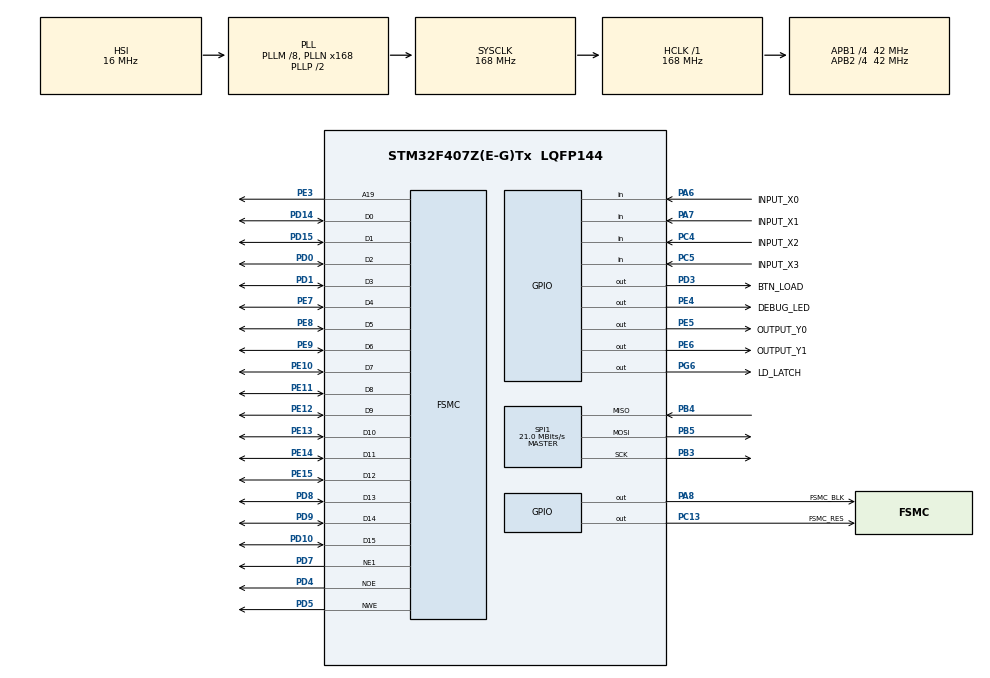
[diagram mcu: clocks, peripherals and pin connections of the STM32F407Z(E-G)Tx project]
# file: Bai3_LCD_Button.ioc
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FSMC.AddressSetupTime1=0xf
FSMC.BusTurnAroundDuration1=0
FSMC.DataSetupTime1=60
FSMC.ExtendedAddressSetupTime1=8
FSMC.ExtendedBusTurnAroundDuration1=0
FSMC.ExtendedDataSetupTime1=9
FSMC.ExtendedMode1=FSMC_EXTENDED_MODE_ENABLE
Mcu.Family=STM32F4
Mcu.Name=STM32F407Z(E-G)Tx
Mcu.Package=LQFP144
NVIC.PriorityGroup=NVIC_PRIORITYGROUP_4
NVIC.TIM2_IRQn=true\:0\:0\:false\:false\:true\:true\:true\:true
NVIC.TIM4_IRQn=true\:0\:0\:false\:false\:true\:true\:true\:true
PA13.Mode=Serial_Wire
PA13.Signal=SYS_JTMS-SWDIO
PA14.Mode=Serial_Wire
PA14.Signal=SYS_JTCK-SWCLK
PA6.GPIO_Label=INPUT_X0
PA6.Signal=GPIO_Input
PA7.GPIO_Label=INPUT_X1
PA7.Signal=GPIO_Input
PA8.GPIO_Label=FSMC_BLK
PA8.Signal=GPIO_Output
PB3.Mode=Full_Duplex_Master
PB3.Signal=SPI1_SCK
PB4.Mode=Full_Duplex_Master
PB4.Signal=SPI1_MISO
PB5.Mode=Full_Duplex_Master
PB5.Signal=SPI1_MOSI
PC13-ANTI_TAMP.GPIO_Label=FSMC_RES
PC13-ANTI_TAMP.Signal=GPIO_Output
PC4.GPIO_Label=INPUT_X2
PC4.Signal=GPIO_Input
PC5.GPIO_Label=INPUT_X3
PC5.Signal=GPIO_Input
PD0.Signal=FSMC_D2_DA2
PD1.Signal=FSMC_D3_DA3
PD10.Signal=FSMC_D15_DA15
PD14.Signal=FSMC_D0_DA0
PD15.Signal=FSMC_D1_DA1
PD3.GPIO_Label=BTN_LOAD
PD3.Signal=GPIO_Output
PD4.Signal=FSMC_NOE
PD5.Signal=FSMC_NWE
PD7.Mode=NorPsramChipSelect1_1
PD7.Signal=FSMC_NE1
PD8.Signal=FSMC_D13_DA13
PD9.Signal=FSMC_D14_DA14
PE10.Signal=FSMC_D7_DA7
PE11.Signal=FSMC_D8_DA8
PE12.Signal=FSMC_D9_DA9
PE13.Signal=FSMC_D10_DA10
PE14.Signal=FSMC_D11_DA11
PE15.Signal=FSMC_D12_DA12
PE3.Signal=FSMC_A19
PE4.GPIO_Label=DEBUG_LED
PE4.Signal=GPIO_Output
PE5.GPIO_Label=OUTPUT_Y0
PE5.Signal=GPIO_Output
PE6.GPIO_Label=OUTPUT_Y1
PE6.Signal=GPIO_Output
PE7.Signal=FSMC_D4_DA4
PE8.Signal=FSMC_D5_DA5
PE9.Signal=FSMC_D6_DA6
PG6.GPIO_Label=LD_LATCH
PG6.Signal=GPIO_Output
PH0-OSC_IN.Mode=HSE-External-Oscillator
PH0-OSC_IN.Signal=RCC_OSC_IN
PH1-OSC_OUT.Mode=HSE-External-Oscillator
PH1-OSC_OUT.Signal=RCC_OSC_OUT
ProjectManager.HeapSize=0x200
ProjectManager.StackSize=0x400
ProjectManager.TargetToolchain=STM32CubeIDE
RCC.48MHZClocksFreq_Value=84000000
RCC.AHBFreq_Value=168000000
RCC.APB1CLKDivider=RCC_HCLK_DIV4
RCC.APB1Freq_Value=42000000
RCC.APB1TimFreq_Value=84000000
RCC.APB2CLKDivider=RCC_HCLK_DIV4
RCC.APB2Freq_Value=42000000
RCC.APB2TimFreq_Value=84000000
RCC.CortexFreq_Value=168000000
RCC.HCLKFreq_Value=168000000
RCC.HSE_VALUE=8000000
RCC.HSI_VALUE=16000000
RCC.LSE_VALUE=32768
RCC.PLLM=8
RCC.PLLN=168
RCC.SYSCLKFreq_VALUE=168000000
RCC.SYSCLKSource=RCC_SYSCLKSOURCE_PLLCLK
RCC.VCOOutputFreq_Value=336000000
SH.FSMC_A19.0=FSMC_A19,A19_1
SH.FSMC_D0_DA0.0=FSMC_D0,16b-d1
SH.FSMC_D10_DA10.0=FSMC_D10,16b-d1
SH.FSMC_D11_DA11.0=FSMC_D11,16b-d1
SH.FSMC_D12_DA12.0=FSMC_D12,16b-d1
SH.FSMC_D13_DA13.0=FSMC_D13,16b-d1
SH.FSMC_D14_DA14.0=FSMC_D14,16b-d1
SH.FSMC_D15_DA15.0=FSMC_D15,16b-d1
SH.FSMC_D1_DA1.0=FSMC_D1,16b-d1
SH.FSMC_D2_DA2.0=FSMC_D2,16b-d1
SH.FSMC_D3_DA3.0=FSMC_D3,16b-d1
SH.FSMC_D4_DA4.0=FSMC_D4,16b-d1
SH.FSMC_D5_DA5.0=FSMC_D5,16b-d1
SH.FSMC_D6_DA6.0=FSMC_D6,16b-d1
SH.FSMC_D7_DA7.0=FSMC_D7,16b-d1
SH.FSMC_D8_DA8.0=FSMC_D8,16b-d1
SH.FSMC_D9_DA9.0=FSMC_D9,16b-d1
SH.FSMC_NOE.0=FSMC_NOE,Lcd1
SH.FSMC_NWE.0=FSMC_NWE,Lcd1
SPI1.BaudRatePrescaler=SPI_BAUDRATEPRESCALER_2
SPI1.CalculateBaudRate=21.0 MBits/s
SPI1.Direction=SPI_DIRECTION_2LINES
SPI1.Mode=SPI_MODE_MASTER
SPI1.VirtualType=VM_MASTER
TIM2.Period=100-1
TIM2.Prescaler=840-1
TIM4.Period=100-1
TIM4.Prescaler=840-1
VP_TIM2_VS_ClockSourceINT.Mode=Internal
VP_TIM4_VS_ClockSourceINT.Mode=Internal
board=custom

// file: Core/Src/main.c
/* USER CODE BEGIN Header */
/**
 ******************************************************************************
 * @file           : main.c
 * @brief          : Main program body
 ******************************************************************************
 * @attention
 *
 * <h2><center>&copy; Copyright (c) 2023 STMicroelectronics.
 * All rights reserved.</center></h2>
 *
 * This software component is licensed by ST under BSD 3-Clause license,
 * the "License"; You may not use this file except in compliance with the
 * License. You may obtain a copy of the License at:
 *                        opensource.org/licenses/BSD-3-Clause
 *
 ******************************************************************************
 */
/* USER CODE END Header */
#include "main.h"
#include "spi.h"
#include "tim.h"
#include "gpio.h"
#include "fsmc.h"

/* USER CODE BEGIN Includes */
#include "software_timer.h"
#include "led.h"
#include "led_7seg.h"
#include "button.h"
#include "lcd.h"
#include "picture.h"
/* USER CODE END Includes */

void SystemClock_Config(void);
/* USER CODE BEGIN PFP */
void init_system();

void TestButtonMatrix();
void TestLcd();
/* USER CODE END PFP */

int main(void) {

	/* MCU Configuration--------------------------------------------------------*/

	/* Reset of all peripherals, Initializes the Flash interface and the Systick. */
	HAL_Init();

	/* Configure the system clock */
	SystemClock_Config();

	/* Initialize all configured peripherals */
	MX_GPIO_Init();
	MX_TIM2_Init();
	MX_TIM4_Init();
	MX_SPI1_Init();
	MX_FSMC_Init();
	/* USER CODE BEGIN 2 */
	init_system();

	lcd_clear(WHITE);
	TestLcd();
	/* USER CODE END 2 */

	/* Infinite loop */
	/* USER CODE BEGIN WHILE */
	while (1) {
		while (!timer2_flag)
			;
		timer2_flag = 0;

		button_scan();
		TestButtonMatrix();

		/* USER CODE END WHILE */

	}
}

void SystemClock_Config(void) {
	RCC_OscInitTypeDef RCC_OscInitStruct = { 0 };
	RCC_ClkInitTypeDef RCC_ClkInitStruct = { 0 };

	/** Configure the main internal regulator output voltage
	 */
	__HAL_RCC_PWR_CLK_ENABLE();
	__HAL_PWR_VOLTAGESCALING_CONFIG(PWR_REGULATOR_VOLTAGE_SCALE1);

	/** Initializes the RCC Oscillators according to the specified parameters
	 * in the RCC_OscInitTypeDef structure.
	 */
	RCC_OscInitStruct.OscillatorType = RCC_OSCILLATORTYPE_HSI;
	RCC_OscInitStruct.HSIState = RCC_HSI_ON;
	RCC_OscInitStruct.HSICalibrationValue = RCC_HSICALIBRATION_DEFAULT;
	RCC_OscInitStruct.PLL.PLLState = RCC_PLL_ON;
	RCC_OscInitStruct.PLL.PLLSource = RCC_PLLSOURCE_HSI;
	RCC_OscInitStruct.PLL.PLLM = 8;
	RCC_OscInitStruct.PLL.PLLN = 168;
	RCC_OscInitStruct.PLL.PLLP = RCC_PLLP_DIV2;
	RCC_OscInitStruct.PLL.PLLQ = 4;
	if (HAL_RCC_OscConfig(&RCC_OscInitStruct) != HAL_OK) {
		Error_Handler();
	}

	/** Initializes the CPU, AHB and APB buses clocks
	 */
	RCC_ClkInitStruct.ClockType = RCC_CLOCKTYPE_HCLK | RCC_CLOCKTYPE_SYSCLK
			| RCC_CLOCKTYPE_PCLK1 | RCC_CLOCKTYPE_PCLK2;
	RCC_ClkInitStruct.SYSCLKSource = RCC_SYSCLKSOURCE_PLLCLK;
	RCC_ClkInitStruct.AHBCLKDivider = RCC_SYSCLK_DIV1;
	RCC_ClkInitStruct.APB1CLKDivider = RCC_HCLK_DIV4;
	RCC_ClkInitStruct.APB2CLKDivider = RCC_HCLK_DIV4;

	if (HAL_RCC_ClockConfig(&RCC_ClkInitStruct, FLASH_LATENCY_5) != HAL_OK) {
		Error_Handler();
	}
}

/* USER CODE BEGIN 4 */
void init_system() {
	HAL_GPIO_WritePin(OUTPUT_Y0_GPIO_Port, OUTPUT_Y0_Pin, 0);
	HAL_GPIO_WritePin(OUTPUT_Y1_GPIO_Port, OUTPUT_Y1_Pin, 0);
	HAL_GPIO_WritePin(DEBUG_LED_GPIO_Port, DEBUG_LED_Pin, 0);

	button_init();
	led_7seg_init();
	lcd_init();

	timer2_init();
	timer2_set(50);

	timer4_init();
	timer4_set(1);
}

void TestButtonMatrix() {
	for (int i = 0; i < 16; i++) {
		if (button_count[i] != 0) {
			lcd_show_int_num(140, 105, i, 2, BRED, WHITE, 32);
		}
	}
}
void TestLcd() {
	lcd_fill(0, 0, 240, 20, BLUE);
	lcd_show_string_center(0, 2, "Hello World !!!", RED, BLUE, 16, 1);
	lcd_show_string(20, 30, "Test LCD Screen", WHITE, RED, 24, 0);
	lcd_draw_rectangle(20, 80, 100, 160, GREEN);
	lcd_draw_circle(160, 120, BRED, 40, 0);
	lcd_show_picture(80, 200, 90, 90, gImageLogo);
}
/* USER CODE END 4 */

void Error_Handler(void) {
	__disable_irq();
	while (1) {
	}
}
